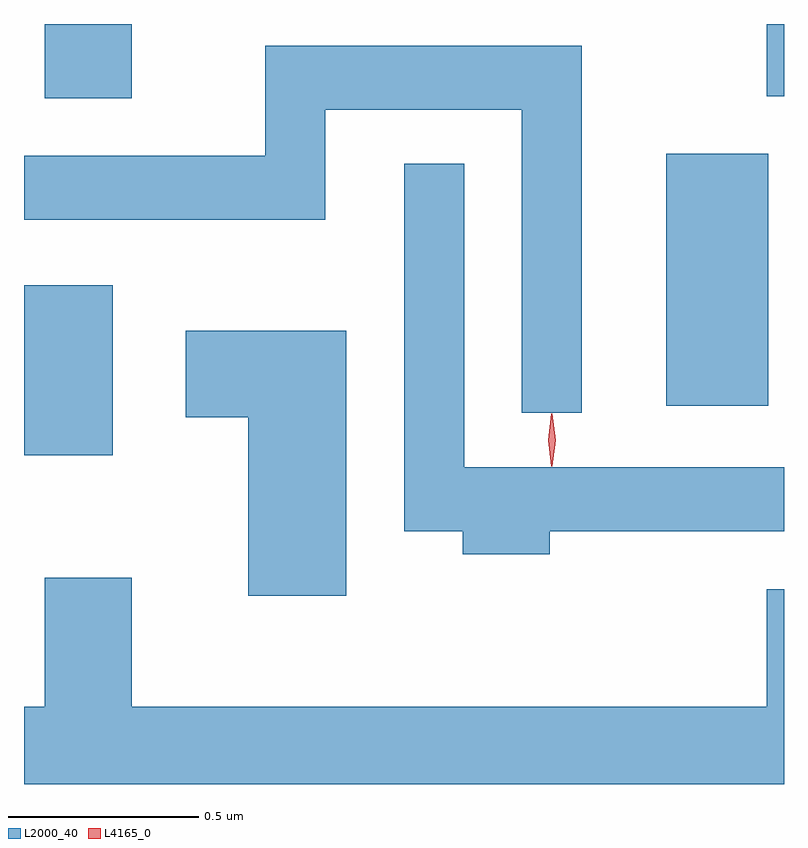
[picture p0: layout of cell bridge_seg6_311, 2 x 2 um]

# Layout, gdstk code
import gdstk
lib = gdstk.Library(unit=1e-6, precision=1e-09)
def R(c, l, rs):  # rectangles x0, y0, x1, y1
    for r in rs: c.add(gdstk.rectangle(r[:2], r[2:], *l))
def P(c, l, *ps):  # polygons
    for p in ps: c.add(gdstk.Polygon(p, *l))
L2000_40 = (2000, 40)
L4165_0 = (4165, 0)

bridge_seg6_311 = lib.new_cell('bridge_seg6_311')
R(bridge_seg6_311, L2000_40, [(1278.056,1553.186,1278.289,1553.634), (1279.746,1553.316,1280.014,1553.979), (1278.111,1554.126,1278.339,1554.321), (1280.011,1554.131,1280.056,1554.321)])
P(bridge_seg6_311, L2000_40, [(1279.524,1554.264),(1278.691,1554.264),(1278.691,1553.974),(1278.056,1553.974),(1278.056,1553.806),(1278.849,1553.806),(1278.849,1554.096),(1279.366,1554.096),(1279.366,1553.298),(1279.524,1553.298)],
  [(1279.439,1552.986),(1280.056,1552.986),(1280.056,1553.154),(1279.214,1553.154),(1279.214,1553.953),(1279.056,1553.953),(1279.056,1552.986),(1279.211,1552.986),(1279.211,1552.926),(1279.439,1552.926)],
  [(1278.904,1553.514),(1278.481,1553.514),(1278.481,1553.286),(1278.646,1553.286),(1278.646,1552.816),(1278.904,1552.816)],
  [(1280.056,1552.834),(1280.011,1552.834),(1280.011,1552.524),(1278.339,1552.524),(1278.339,1552.864),(1278.111,1552.864),(1278.111,1552.524),(1278.056,1552.524),(1278.056,1552.321),(1280.056,1552.321)])
P(bridge_seg6_311, L4165_0, [(1279.445,1553.159),(1279.444,1553.16),(1279.435,1553.226),(1279.444,1553.292),(1279.445,1553.293),(1279.445,1553.292),(1279.455,1553.226),(1279.445,1553.16)],
  [(1279.444,1553.157),(1279.435,1553.226),(1279.444,1553.296),(1279.445,1553.296),(1279.446,1553.296),(1279.455,1553.226),(1279.446,1553.157),(1279.445,1553.157)])

lib.write_gds('bridge_seg6_311.gds')
